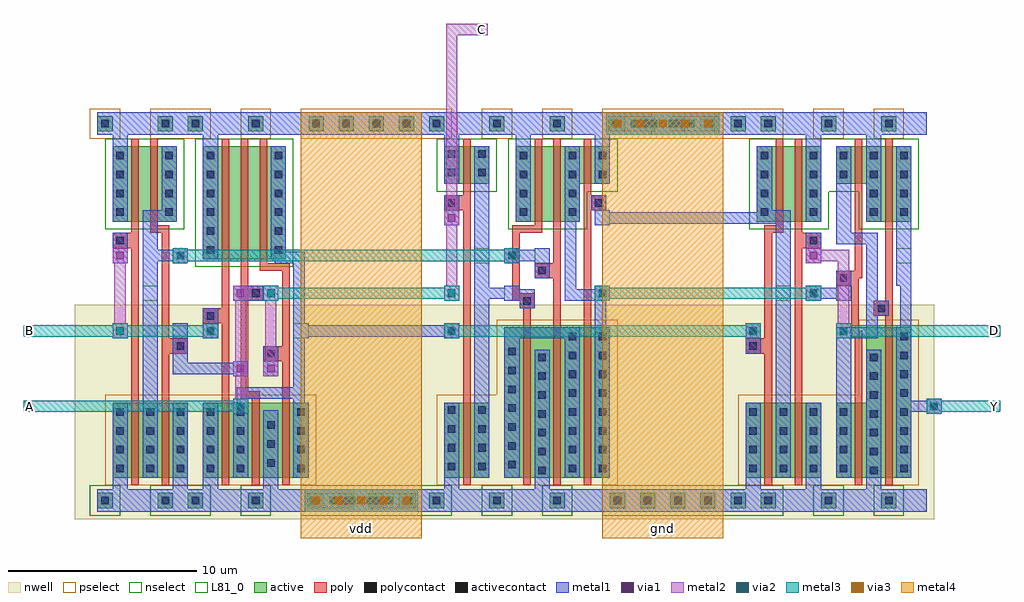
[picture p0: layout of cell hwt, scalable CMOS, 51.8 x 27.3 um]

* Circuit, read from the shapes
.subckt hwt A B C D Y gnd vdd
M1 n1 B gnd gnd nfet w=4u l=0.4u
M2 AOI21X1_9/B A n1 gnd nfet w=4u l=0.4u
M3 n2 B gnd gnd nfet w=6u l=0.4u
M4 n3 A n2 gnd nfet w=6u l=0.4u
M5 NAND2X1_12/B C n3 gnd nfet w=6u l=0.4u
M6 AOI21X1_9/A C gnd gnd nfet w=2u l=0.4u
M7 n4 AOI21X1_9/A gnd gnd nfet w=4u l=0.4u
M8 NAND2X1_12/Y AOI21X1_9/B n4 gnd nfet w=4u l=0.4u
M9 gnd n5 NAND2X1_12/Y gnd nfet w=2u l=0.4u
M10 n6 NAND2X1_12/B n5 gnd nfet w=4u l=0.4u
M11 gnd D n6 gnd nfet w=4u l=0.4u
M12 gnd NAND2X1_12/Y n7 gnd nfet w=2u l=0.4u
M13 Y n7 gnd gnd nfet w=4u l=0.4u
M14 AOI21X1_9/B B vdd vdd pfet w=4u l=0.4u
M15 vdd A AOI21X1_9/B vdd pfet w=4u l=0.4u
M16 NAND2X1_12/B B vdd vdd pfet w=4u l=0.4u
M17 vdd A NAND2X1_12/B vdd pfet w=4u l=0.4u
M18 NAND2X1_12/B C vdd vdd pfet w=4u l=0.4u
M19 AOI21X1_9/A C vdd vdd pfet w=4u l=0.4u
M20 vdd AOI21X1_9/A n8 vdd pfet w=8u l=0.4u
M21 n8 AOI21X1_9/B vdd vdd pfet w=8u l=0.4u
M22 NAND2X1_12/Y n5 n8 vdd pfet w=8u l=0.4u
M23 n5 NAND2X1_12/B vdd vdd pfet w=4u l=0.4u
M24 vdd D n5 vdd pfet w=4u l=0.4u
M25 vdd NAND2X1_12/Y n7 vdd pfet w=4u l=0.4u
M26 Y n7 vdd vdd pfet w=8u l=0.4u
.ends

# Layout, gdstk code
from math import pi, radians
import gdstk
lib = gdstk.Library(unit=1e-6, precision=1e-09)
def R(c, l, rs):  # rectangles x0, y0, x1, y1
    for r in rs: c.add(gdstk.rectangle(r[:2], r[2:], *l))
def A(c, l, x, y, w, h, nx, ny, dx, dy):  # array of equal rectangles
    R(c, l, [(x+i*dx, y+j*dy, x+i*dx+w, y+j*dy+h) for i in range(nx) for j in range(ny)])
via3 = (30, 0)
metal4 = (31, 0)
nwell = (42, 0)
active = (43, 0)
pselect = (44, 0)
nselect = (45, 0)
poly = (46, 0)
polycontact = (47, 0)
activecontact = (48, 0)
metal1 = (49, 0)
via1 = (50, 0)
metal2 = (51, 0)
via2 = (61, 0)
metal3 = (62, 0)
L81_0 = (81, 0)

nand2x1 = lib.new_cell('NAND2X1')
R(nand2x1, nwell, [(-1.6,9.6,6.4,21)])
R(nand2x1, active, [(-0.4,-0.4,0.4,0.4), (2.8,-0.4,3.6,0.4), (0.4,1.2,3.8,5.2), (0.4,14.8,4.4,18.8), (-0.4,19.6,0.4,20.4), (2.8,19.6,3.6,20.4)])
R(nand2x1, pselect, [(-0.8,-0.8,0.8,0.8), (2.4,-0.8,4,0.8), (0,14.4,4.8,19.2)])
R(nand2x1, nselect, [(0,0.8,4.2,5.6), (-0.8,19.2,0.8,20.8), (2.4,19.2,4,20.8)])
R(nand2x1, poly, [(1.4,0.8,1.8,5.8), (2.4,0.8,2.8,5.4), (2.4,5.4,3.4,5.8), (0.4,5.8,1.8,6.6), (3,5.8,3.4,11.4), (1.4,6.6,1.8,19.2), (3,11.4,4.4,12.2), (3,12.2,3.4,19.2)])
R(nand2x1, polycontact, [(0.6,6,1,6.4), (3.8,11.6,4.2,12)])
A(nand2x1, activecontact, 0.6, 1.5, 0.4, 0.4, 1, 4, 0, 1)
A(nand2x1, activecontact, 3.2, 1.5, 0.4, 0.4, 1, 4, 0, 1)
A(nand2x1, activecontact, 0.6, 15.1, 0.4, 0.4, 3, 4, 1.6, 1)
R(nand2x1, activecontact, [(-0.2,-0.2,0.2,0.2), (3,-0.2,3.4,0.2), (-0.2,19.8,0.2,20.2), (3,19.8,3.4,20.2)])
R(nand2x1, metal1, [(-0.4,-0.6,5.2,0.6), (0.4,0.6,1.2,5.2), (3,1.2,3.8,4.6), (2,4.6,3.8,5.2), (2,5.2,2.8,18.8), (0.4,5.8,1.2,7.4), (3.6,10.6,4.4,12.2), (0.4,14.8,1.2,19.4), (3.6,14.8,4.4,19.4), (-0.4,19.4,5.2,20.6)])
R(nand2x1, L81_0, [(0.4,6.6,1.2,7.4), (2,8.6,2.8,9.4), (3.6,10.6,4.4,11.4)])
nand2x1.add(gdstk.Label('vdd', (0.8,20), layer=109, texttype=0))
nand2x1.add(gdstk.Label('Y', (2.4,9), layer=109, texttype=0))
nand2x1.add(gdstk.Label('gnd', (0.8,0), layer=109, texttype=0))
nand2x1.add(gdstk.Label('A', (0.8,7), layer=109, texttype=0))
nand2x1.add(gdstk.Label('B', (4,11), layer=109, texttype=0))

nand3x1 = lib.new_cell('NAND3X1')
R(nand3x1, nwell, [(-1.6,9.6,8,21)])
R(nand3x1, active, [(-0.4,-0.4,0.4,0.4), (2.8,-0.4,3.6,0.4), (0.4,1.2,4.8,7.2), (0.4,14.8,6,18.8), (-0.4,19.6,0.4,20.4), (2.8,19.6,3.6,20.4)])
R(nand3x1, pselect, [(-0.8,-0.8,0.8,0.8), (2.4,-0.8,4,0.8), (0,14.4,6.4,19.2)])
R(nand3x1, nselect, [(0,0.8,5.2,7.6), (-0.8,19.2,0.8,20.8), (2.4,19.2,4,20.8)])
R(nand3x1, poly, [(1.4,0.8,1.8,9.8), (2.4,0.8,2.8,8.6), (3.4,0.8,3.8,7.4), (3.4,7.4,5,7.8), (4.6,7.8,5,11.8), (2.4,8.6,3.6,9.4), (2.4,9.4,2.8,14.2), (0.4,9.8,1.8,10.6), (1.4,10.6,1.8,19.2), (3.6,11.8,5,12.6), (4.6,12.6,5,19.2), (2.4,14.2,3.4,14.6), (3,14.6,3.4,19.2)])
R(nand3x1, polycontact, [(3,8.8,3.4,9.2), (0.6,10,1,10.4), (3.8,12,4.2,12.4)])
A(nand3x1, activecontact, 0.6, 1.5, 0.4, 0.4, 1, 6, 0, 1)
A(nand3x1, activecontact, 4.2, 1.5, 0.4, 0.4, 1, 6, 0, 1)
A(nand3x1, activecontact, 0.6, 15.1, 0.4, 0.4, 1, 4, 0, 1)
A(nand3x1, activecontact, 2.2, 15.1, 0.4, 0.4, 1, 4, 0, 1)
A(nand3x1, activecontact, 5.4, 15.1, 0.4, 0.4, 1, 4, 0, 1)
A(nand3x1, activecontact, 3.8, 15.8, 0.4, 0.4, 1, 3, 0, 1)
R(nand3x1, activecontact, [(-0.2,-0.2,0.2,0.2), (3,-0.2,3.4,0.2), (-0.2,19.8,0.2,20.2), (3,19.8,3.4,20.2)])
R(nand3x1, metal1, [(-0.4,-0.6,6.8,0.6), (0.4,0.6,1.2,7.2), (4,1.2,4.8,6.8), (4,6.8,5.8,7.2), (4.2,7.2,5.8,7.4), (5.2,7.4,5.8,10.6), (2,8.6,3.6,9.4), (0.4,9.8,1.2,11.4), (5.2,10.6,6,11.4), (5.2,11.4,5.8,14), (3.6,11.8,4.4,13.4), (2.2,14,5.8,14.6), (2.2,14.6,2.8,14.8), (5.2,14.6,5.8,14.8), (0.4,14.8,1.2,19.4), (2,14.8,2.8,18.8), (5.2,14.8,6,18.8), (3.6,15.2,4.4,19.4), (-0.4,19.4,6.8,20.6)])
R(nand3x1, L81_0, [(2,8.6,2.8,9.4), (0.4,10.6,1.2,11.4), (5.2,10.6,6,11.4), (3.6,12.6,4.4,13.4)])
nand3x1.add(gdstk.Label('B', (2.4,9), layer=109, texttype=0))
nand3x1.add(gdstk.Label('vdd', (0.8,20), layer=109, texttype=0))
nand3x1.add(gdstk.Label('gnd', (0.8,0), layer=109, texttype=0))
nand3x1.add(gdstk.Label('A', (0.8,11), layer=109, texttype=0))
nand3x1.add(gdstk.Label('C', (4,13), layer=109, texttype=0))
nand3x1.add(gdstk.Label('Y', (5.6,11), layer=109, texttype=0))

fill = lib.new_cell('FILL')
R(fill, nwell, [(-1.6,9.6,3.2,21)])
R(fill, active, [(-0.4,-0.4,0.4,0.4), (1.2,-0.4,2,0.4), (-0.4,19.6,0.4,20.4), (1.2,19.6,2,20.4)])
R(fill, pselect, [(-0.8,-0.8,2.4,0.8)])
R(fill, nselect, [(-0.8,19.2,2.4,20.8)])
R(fill, activecontact, [(-0.2,-0.2,0.2,0.2), (1.4,-0.2,1.8,0.2), (-0.2,19.8,0.2,20.2), (1.4,19.8,1.8,20.2)])
R(fill, metal1, [(-0.4,-0.6,2,0.6), (-0.4,19.4,2,20.6)])
fill.add(gdstk.Label('vdd', (0.8,20), layer=109, texttype=0))
fill.add(gdstk.Label('gnd', (0.8,0), layer=109, texttype=0))

invx1 = lib.new_cell('INVX1')
R(invx1, nwell, [(-1.8,9.6,5.2,21)])
R(invx1, active, [(-0.4,-0.4,0.4,0.4), (0.4,1.2,2.8,3.2), (0.4,14.8,2.8,18.8), (-0.4,19.6,0.4,20.4)])
R(invx1, pselect, [(-0.8,-0.8,0.8,0.8), (0,14.4,3.2,19.2)])
R(invx1, nselect, [(0,0.8,3.2,3.6), (-0.8,19.2,0.8,20.8)])
R(invx1, poly, [(1.4,0.8,1.8,3.8), (0.4,3.8,1.8,4.6), (1.4,4.6,1.8,19.2)])
R(invx1, polycontact, [(0.6,4,1,4.4)])
A(invx1, activecontact, 0.6, 15, 0.4, 0.4, 1, 4, 0, 1)
A(invx1, activecontact, 2.2, 15, 0.4, 0.4, 1, 4, 0, 1)
R(invx1, activecontact, [(-0.2,-0.2,0.2,0.2), (0.6,1.4,1,1.8), (2.2,1.4,2.6,1.8), (0.6,2.4,1,2.8), (2.2,2.4,2.6,2.8), (-0.2,19.8,0.2,20.2)])
R(invx1, metal1, [(-0.4,-0.6,3.6,0.6), (0.4,0.6,1.2,3.2), (2,1.2,2.8,18.8), (0.4,3.8,1.2,5.4), (0.4,14.8,1.2,19.4), (-0.4,19.4,3.6,20.6)])
R(invx1, L81_0, [(0.4,4.6,1.2,5.4), (2,6.6,2.8,7.4)])
invx1.add(gdstk.Label('A', (0.8,5), layer=109, texttype=0))
invx1.add(gdstk.Label('Y', (2.4,7), layer=109, texttype=0))
invx1.add(gdstk.Label('vdd', (0.8,20), layer=109, texttype=0))
invx1.add(gdstk.Label('gnd', (0.8,0), layer=109, texttype=0))

aoi21x1 = lib.new_cell('AOI21X1')
R(aoi21x1, nwell, [(-1.4,9.6,7.8,21)])
R(aoi21x1, active, [(-0.4,-0.4,0.4,0.4), (2.8,-0.4,3.6,0.4), (1,1.2,6,3.2), (1,3.2,4.4,5.2), (0.4,10.8,6,18.8), (-0.4,19.6,0.4,20.4), (2.8,19.6,3.6,20.4)])
R(aoi21x1, pselect, [(-0.8,-0.8,0.8,0.8), (2.4,-0.8,4,0.8), (0,10.4,6.4,19.2)])
R(aoi21x1, nselect, [(0.6,0.8,6.4,3.6), (0.6,3.6,4.8,5.6), (-0.8,19.2,0.8,20.8), (2.4,19.2,4,20.8)])
R(aoi21x1, poly, [(2,0.8,2.4,5.4), (3,0.8,3.4,7.4), (4.6,0.8,5,3.8), (4.6,3.8,5.8,4.6), (4.6,4.6,5,19.2), (0.8,5.4,2.4,5.8), (0.8,5.8,1.2,9), (2,7.4,3.4,8.2), (3,8.2,3.4,19.2), (0.8,9,2,9.4), (1.2,9.4,2,9.8), (1.4,9.8,1.8,19.2)])
R(aoi21x1, polycontact, [(5.2,4,5.6,4.4), (2.2,7.6,2.6,8), (1.4,9.2,1.8,9.6)])
A(aoi21x1, activecontact, 1.2, 1.5, 0.4, 0.4, 1, 4, 0, 1)
A(aoi21x1, activecontact, 3.8, 1.5, 0.4, 0.4, 1, 4, 0, 1)
A(aoi21x1, activecontact, 3.8, 11.1, 0.4, 0.4, 1, 8, 0, 1)
A(aoi21x1, activecontact, 5.4, 11.1, 0.4, 0.4, 1, 8, 0, 1)
A(aoi21x1, activecontact, 0.6, 11.9, 0.4, 0.4, 1, 7, 0, 1)
A(aoi21x1, activecontact, 2.2, 12.2, 0.4, 0.4, 1, 7, 0, 1)
R(aoi21x1, activecontact, [(-0.2,-0.2,0.2,0.2), (3,-0.2,3.4,0.2), (5.4,1.5,5.8,1.9), (5.4,2.5,5.8,2.9), (-0.2,19.8,0.2,20.2), (3,19.8,3.4,20.2)])
R(aoi21x1, metal1, [(-0.4,-0.6,6.8,0.6), (1,0.6,1.8,5.2), (5.2,0.6,6,3.2), (3.6,1.2,4.4,5.2), (5,3.8,5.8,4.6), (5.2,4.6,6,5.4), (3.6,5.2,4.2,8.8), (2,6.6,2.8,8.2), (0.4,8.6,1.2,8.8), (5.2,8.6,6,8.8), (0.4,8.8,2,9.4), (3.6,8.8,6,9.4), (1.2,9.4,2,9.8), (5.2,9.4,5.8,10.8), (0.4,10.8,4.4,11.4), (5.2,10.8,6,18.8), (0.4,11.4,1.2,18.8), (3.6,11.4,4.4,18.8), (2,12,2.8,19.4), (-0.4,19.4,6.8,20.6)])
R(aoi21x1, L81_0, [(5.2,4.6,6,5.4), (2,6.6,2.8,7.4), (0.4,8.6,1.2,9.4), (5.2,8.6,6,9.4)])
aoi21x1.add(gdstk.Label('gnd', (0.8,0), layer=109, texttype=0))
aoi21x1.add(gdstk.Label('vdd', (0.8,20), layer=109, texttype=0))
aoi21x1.add(gdstk.Label('A', (0.8,9), layer=109, texttype=0))
aoi21x1.add(gdstk.Label('B', (2.4,7), layer=109, texttype=0))
aoi21x1.add(gdstk.Label('Y', (5.6,9), layer=109, texttype=0))
aoi21x1.add(gdstk.Label('C', (5.6,5), layer=109, texttype=0))

bufx2 = lib.new_cell('BUFX2')
R(bufx2, nwell, [(-1,9.6,5.6,21)])
R(bufx2, active, [(-0.4,-0.4,0.4,0.4), (2.8,-0.4,3.6,0.4), (0.4,1.2,4.4,3.2), (2,3.2,4.4,5.2), (2,10.8,4.4,14.8), (0.4,14.8,4.4,18.8), (-0.4,19.6,0.4,20.4), (2.8,19.6,3.6,20.4)])
R(bufx2, pselect, [(-0.8,-0.8,0.8,0.8), (2.4,-0.8,4,0.8), (1.6,10.4,4.8,14.4), (0,14.4,4.8,19.2)])
R(bufx2, nselect, [(0,0.8,4.8,3.6), (1.6,3.6,4.8,5.6), (-0.8,19.2,0.8,20.8), (2.4,19.2,4,20.8)])
R(bufx2, poly, [(1.4,0.8,1.8,7.8), (3,0.8,3.4,9.4), (0.4,7.8,1.8,8.2), (0.4,8.2,1.6,8.6), (1.2,8.6,1.6,11), (2.4,9.4,3.4,10.2), (3,10.2,3.4,19.2), (1.2,11,1.8,11.4), (1.4,11.4,1.8,19.2)])
R(bufx2, polycontact, [(0.6,8,1,8.4), (2.6,9.6,3,10)])
A(bufx2, activecontact, 0.6, 1.5, 0.4, 0.4, 3, 2, 1.6, 1)
A(bufx2, activecontact, 3.8, 11.1, 0.4, 0.4, 1, 8, 0, 1)
A(bufx2, activecontact, 2.2, 12.2, 0.4, 0.4, 1, 7, 0, 1)
A(bufx2, activecontact, 0.6, 15.1, 0.4, 0.4, 1, 4, 0, 1)
R(bufx2, activecontact, [(-0.2,-0.2,0.2,0.2), (3,-0.2,3.4,0.2), (2.2,3.5,2.6,3.9), (3.8,3.5,4.2,3.9), (2.2,4.5,2.6,4.9), (3.8,4.5,4.2,4.9), (-0.2,19.8,0.2,20.2), (3,19.8,3.4,20.2)])
R(bufx2, metal1, [(-0.4,-0.6,5.2,0.6), (2,0.6,2.8,5.2), (0.4,1.2,1.2,5.8), (3.6,1.2,4.4,8.6), (0.4,5.8,2.6,6.4), (2,6.4,2.6,9.4), (0.4,7.8,1.2,9.4), (3.8,8.6,4.4,10.8), (2,9.4,3.2,10.2), (2,10.2,2.6,10.8), (0.4,10.8,2.6,11.4), (3.6,10.8,4.4,18.8), (0.4,11.4,1.2,18.8), (2,12,2.8,19.4), (-0.4,19.4,5.2,20.6)])
R(bufx2, L81_0, [(3.6,6.6,4.4,7.4), (0.4,8.6,1.2,9.4)])
bufx2.add(gdstk.Label('vdd', (0.8,20), layer=109, texttype=0))
bufx2.add(gdstk.Label('gnd', (0.8,0), layer=109, texttype=0))
bufx2.add(gdstk.Label('A', (0.8,9), layer=109, texttype=0))
bufx2.add(gdstk.Label('Y', (4,7), layer=109, texttype=0))

hwt = lib.new_cell('hwt')
A(hwt, via3, 11.8, 0.8, 0.4, 0.4, 5, 1, 1.2, 0)
A(hwt, via3, 27.8, 20.8, 0.4, 0.4, 5, 1, 1.2, 0)
R(hwt, metal4, [(11.2,-1,17.6,21.6), (27.2,-1,33.6,21.6)])
R(hwt, metal1, [(13.8,0.4,15,0.6), (11.5,0.6,17.3,1.4), (13.8,1.4,15,1.6), (44.4,5.6,45.2,5.7), (42.9,5.7,45.2,6.3), (44.4,6.3,45.2,6.4), (7.6,7.6,8.4,7.7), (9.2,7.6,10,8.4), (4.4,7.7,8.4,8.3), (4.4,8.3,5.2,8.8), (7.6,8.3,8.4,8.4), (6,9.6,6.8,10.4), (18.8,9.6,19.6,9.7), (34.8,9.6,35.6,10.4), (10.9,9.7,19.6,10.3), (18.8,10.3,19.6,10.4), (7.6,11.6,8.4,12.4), (26.8,11.6,27.6,12.4), (38,11.6,38.8,11.7), (20.5,11.7,22.7,12.3), (38,11.7,40.3,12.3), (38,12.3,38.8,12.4), (1.2,13.6,2,14.4), (4.4,13.6,5.2,13.7), (22,13.6,22.8,13.7), (38,13.6,38.8,14.4), (2.9,13.7,5.2,14.3), (22,13.7,24.3,14.3), (4.4,14.3,5.2,14.4), (22,14.3,22.8,14.4), (18.8,15.6,19.6,16.4), (26.9,15.7,36.4,16.3), (29.8,20.4,31,20.6), (27.5,20.6,33.3,21.4), (29.8,21.4,31,21.6)])
A(hwt, via1, 11.7, 0.8, 0.4, 0.4, 6, 1, 1, 0)
A(hwt, via1, 27.7, 20.8, 0.4, 0.4, 6, 1, 1, 0)
R(hwt, via1, [(44.6,5.8,45,6.2), (7.8,7.8,8.2,8.2), (9.4,7.8,9.8,8.2), (6.2,9.8,6.6,10.2), (19,9.8,19.4,10.2), (35,9.8,35.4,10.2), (7.8,11.8,8.2,12.2), (27,11.8,27.4,12.2), (38.2,11.8,38.6,12.2), (1.4,13.8,1.8,14.2), (4.6,13.8,5,14.2), (22.2,13.8,22.6,14.2), (38.2,13.8,38.6,14.2), (19,15.8,19.4,16.2)])
R(hwt, metal2, [(13.8,0.4,15,0.6), (11.5,0.6,17.3,1.4), (13.8,1.4,15,1.6), (7.6,5.6,8.4,6.4), (44.4,5.6,45.2,6.4), (7.7,6.4,8.3,7.6), (7.6,7.6,8.4,8.4), (9.2,7.6,10,8.4), (7.7,8.4,8.3,11.6), (9.3,8.4,9.9,11.6), (1.2,9.6,2,10.4), (6,9.6,6.8,10.4), (18.8,9.6,19.6,10.4), (34.8,9.6,35.6,10.4), (39.6,9.6,40.4,10.4), (1.3,10.4,1.9,13.6), (39.7,10.4,40.3,13.7), (7.6,11.6,8.4,12.4), (9.2,11.6,10,12.4), (18.8,11.6,19.6,12.4), (26.8,11.6,27.6,12.4), (38,11.6,38.8,12.4), (18.9,12.4,19.5,15.6), (1.2,13.6,2,14.4), (4.4,13.6,5.2,14.4), (22,13.6,22.8,14.4), (38,13.6,38.8,13.7), (38,13.7,40.3,14.3), (38,14.3,38.8,14.4), (18.8,15.6,19.6,16.4), (18.9,16.4,19.5,25.7), (29.8,20.4,31,20.6), (27.5,20.6,33.3,21.4), (29.8,21.4,31,21.6), (18.9,25.7,21.1,26.3)])
A(hwt, via2, 11.7, 0.8, 0.4, 0.4, 6, 1, 1, 0)
A(hwt, via2, 27.7, 20.8, 0.4, 0.4, 6, 1, 1, 0)
R(hwt, via2, [(7.8,5.8,8.2,6.2), (44.6,5.8,45,6.2), (1.4,9.8,1.8,10.2), (6.2,9.8,6.6,10.2), (19,9.8,19.4,10.2), (35,9.8,35.4,10.2), (39.8,9.8,40.2,10.2), (9.4,11.8,9.8,12.2), (19,11.8,19.4,12.2), (27,11.8,27.4,12.2), (38.2,11.8,38.6,12.2), (4.6,13.8,5,14.2), (22.2,13.8,22.6,14.2)])
R(hwt, metal3, [(11.4,0.4,17.4,1.6), (7.6,5.6,8.4,5.7), (44.4,5.6,45.2,5.7), (-3.5,5.7,8.4,6.3), (44.4,5.7,48.3,6.3), (7.6,6.3,8.4,6.4), (44.4,6.3,45.2,6.4), (1.2,9.6,2,9.7), (6,9.6,6.8,9.7), (18.8,9.6,19.6,9.7), (34.8,9.6,35.6,9.7), (39.6,9.6,40.4,9.7), (-3.5,9.7,6.8,10.3), (18.8,9.7,35.6,10.3), (39.6,9.7,48.3,10.3), (1.2,10.3,2,10.4), (6,10.3,6.8,10.4), (18.8,10.3,19.6,10.4), (34.8,10.3,35.6,10.4), (39.6,10.3,40.4,10.4), (9.2,11.6,10,11.7), (18.8,11.6,19.6,11.7), (26.8,11.6,27.6,11.7), (38,11.6,38.8,11.7), (9.2,11.7,19.6,12.3), (26.8,11.7,38.8,12.3), (9.2,12.3,10,12.4), (18.8,12.3,19.6,12.4), (26.8,12.3,27.6,12.4), (38,12.3,38.8,12.4), (4.4,13.6,5.2,13.7), (22,13.6,22.8,13.7), (4.4,13.7,22.8,14.3), (4.4,14.3,5.2,14.4), (22,14.3,22.8,14.4), (27.4,20.4,33.4,21.6)])
hwt.add(gdstk.Reference(nand2x1, (0.8,21), x_reflection=True))
hwt.add(gdstk.Reference(nand3x1, (5.6,21), x_reflection=True))
hwt.add(gdstk.Reference(fill, (18.4,21), rotation=pi))
hwt.add(gdstk.Reference(fill, (16.8,21), rotation=pi))
hwt.add(gdstk.Reference(fill, (15.2,21), rotation=pi))
hwt.add(gdstk.Reference(fill, (13.6,21), rotation=pi))
hwt.add(gdstk.Reference(invx1, (18.4,21), x_reflection=True))
hwt.add(gdstk.Reference(fill, (31.2,21), rotation=pi))
hwt.add(gdstk.Reference(fill, (29.6,21), rotation=pi))
hwt.add(gdstk.Reference(aoi21x1, (21.6,21), x_reflection=True))
hwt.add(gdstk.Reference(fill, (34.4,21), rotation=pi))
hwt.add(gdstk.Reference(fill, (32.8,21), rotation=pi))
hwt.add(gdstk.Reference(nand2x1, (39.2,21), rotation=pi))
hwt.add(gdstk.Reference(bufx2, (39.2,21), x_reflection=True))
hwt.add(gdstk.Label('gnd', (30.4,-0.5), layer=31, texttype=0))
hwt.add(gdstk.Label('vdd', (14.4,-0.5), layer=31, texttype=0))
hwt.add(gdstk.Label('A', (-3.2,6), layer=62, texttype=0))
hwt.add(gdstk.Label('B', (-3.2,10), layer=62, texttype=0))
hwt.add(gdstk.Label('C', (20.8,26), layer=51, texttype=0))
hwt.add(gdstk.Label('D', (48,10), layer=62, texttype=0))
hwt.add(gdstk.Label('Y', (48,6), layer=62, texttype=0))

lib.write_gds('hwt.gds')
